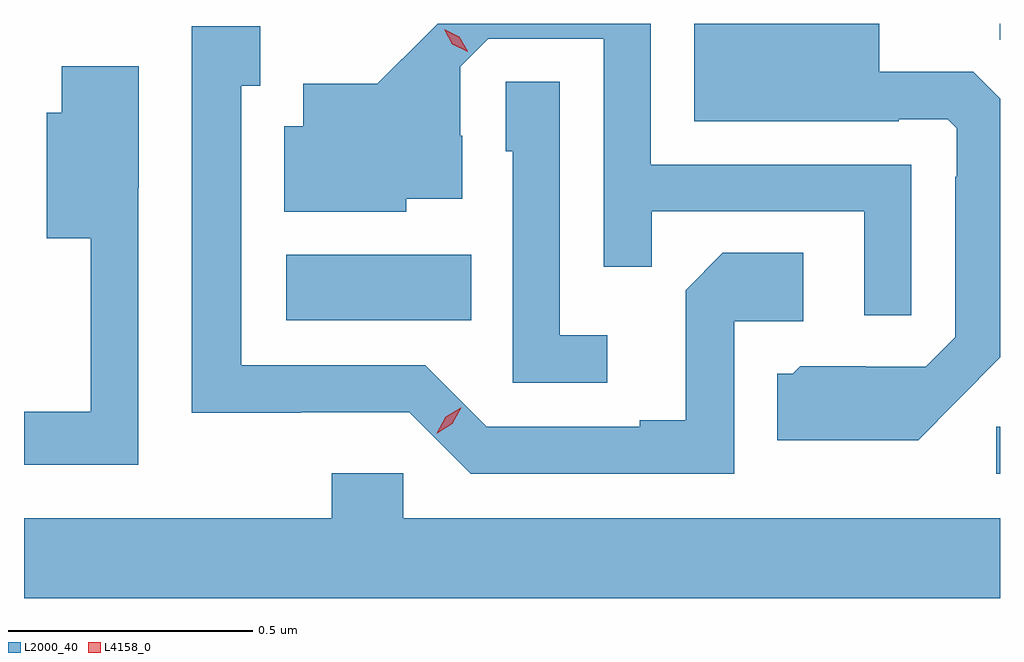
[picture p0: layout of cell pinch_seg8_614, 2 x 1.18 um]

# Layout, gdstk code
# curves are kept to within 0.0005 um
import gdstk
lib = gdstk.Library(unit=1e-6, precision=1e-09)
def R(c, l, rs):  # rectangles x0, y0, x1, y1
    for r in rs: c.add(gdstk.rectangle(r[:2], r[2:], *l))
def P(c, l, *ps):  # polygons
    for p in ps: c.add(gdstk.Polygon(p, *l))
L2000_40 = (2000, 40)
L4158_0 = (4158, 0)

pinch_seg8_614 = lib.new_cell('pinch_seg8_614')
R(pinch_seg8_614, L2000_40, [(133.059,1102.104,133.067,1102.2), (131.604,1102.418,131.984,1102.552), (133.066,1102.993,133.067,1103.026)])
P(pinch_seg8_614, L2000_40, [(132.979,1102.253),(133.067,1102.342),(133.067,1102.872),(133.012,1102.927),(132.82,1102.927),(132.82,1103.026),(132.44,1103.026),(132.44,1102.826),(132.86,1102.826),(132.86,1102.83),(132.96,1102.83),(132.978,1102.812),(132.978,1102.712),(132.975,1102.712),(132.975,1102.383),(132.915,1102.323),(132.792,1102.323),(132.792,1102.324),(132.658,1102.324),(132.642,1102.308),(132.611,1102.308),(132.611,1102.172),(132.899,1102.172)],
  [(132.885,1102.737),(132.351,1102.737),(132.351,1103.026),(131.915,1103.026),(131.791,1102.903),(131.639,1102.903),(131.639,1102.816),(131.6,1102.816),(131.6,1102.64),(131.85,1102.64),(131.85,1102.667),(131.965,1102.667),(131.965,1102.796),(131.961,1102.796),(131.961,1102.938),(132.018,1102.995),(132.255,1102.995),(132.255,1102.528),(132.353,1102.528),(132.353,1102.641),(132.789,1102.641),(132.789,1102.428),(132.885,1102.428)],
  [(132.522,1102.416),(132.664,1102.416),(132.664,1102.556),(132.499,1102.556),(132.423,1102.48),(132.423,1102.213),(132.329,1102.213),(132.329,1102.2),(132.015,1102.2),(131.889,1102.326),(131.512,1102.326),(131.512,1102.899),(131.551,1102.899),(131.551,1103.02),(131.411,1103.02),(131.411,1102.229),(131.634,1102.229),(131.634,1102.23),(131.856,1102.23),(131.982,1102.104),(132.522,1102.104)],
  [(131.301,1102.69),(131.302,1102.69),(131.302,1102.939),(131.144,1102.939),(131.144,1102.843),(131.114,1102.843),(131.114,1102.586),(131.204,1102.586),(131.204,1102.231),(131.067,1102.231),(131.067,1102.122),(131.301,1102.122)],
  [(132.262,1102.387),(132.165,1102.387),(132.165,1102.907),(132.054,1102.907),(132.054,1102.764),(132.069,1102.764),(132.069,1102.29),(132.262,1102.29)],
  [(133.067,1102.012),(131.844,1102.012),(131.844,1102.105),(131.698,1102.105),(131.698,1102.012),(131.067,1102.012),(131.067,1101.848),(133.067,1101.848)])
P(pinch_seg8_614, L4158_0, [(131.976,1102.968),(131.945,1102.984),(131.928,1103.014),(131.928,1103.014),(131.928,1103.014),(131.959,1102.999),(131.976,1102.969),(131.976,1102.968)],
  [(131.913,1102.187),(131.913,1102.187),(131.931,1102.22),(131.962,1102.239),(131.963,1102.239),(131.963,1102.239),(131.945,1102.206),(131.914,1102.187)])

lib.write_gds('pinch_seg8_614.gds')
